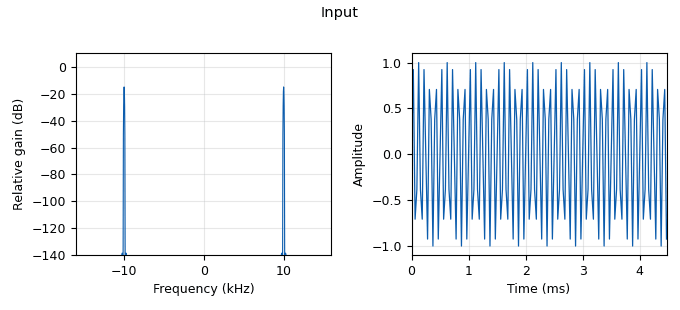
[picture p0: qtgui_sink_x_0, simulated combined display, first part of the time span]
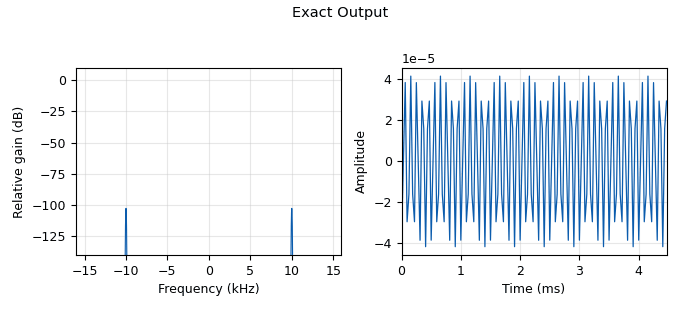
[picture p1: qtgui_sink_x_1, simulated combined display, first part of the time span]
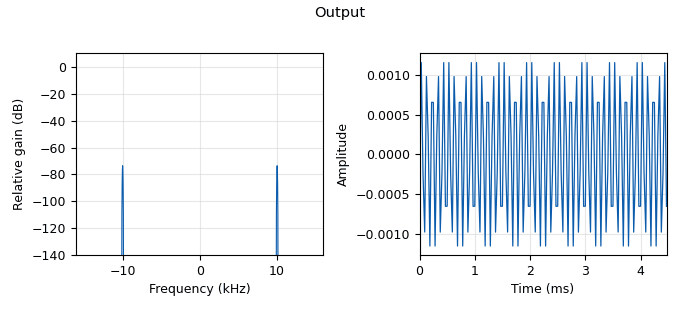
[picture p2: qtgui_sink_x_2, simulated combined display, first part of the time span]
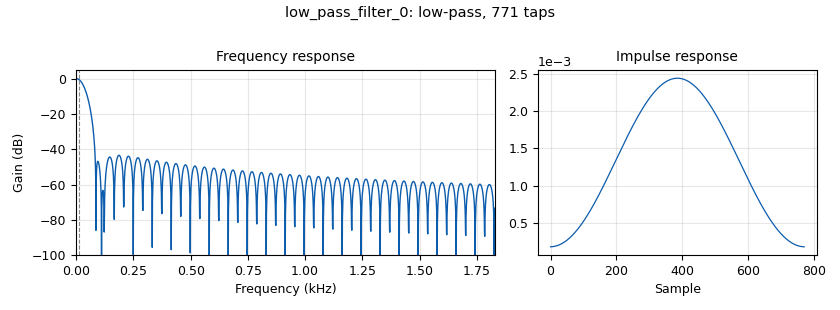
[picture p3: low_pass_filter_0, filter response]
<?xml version='1.0' encoding='utf-8'?>
<?grc format='1' created='3.7.11'?>
<flow_graph>
<block>
<key>options</key>
<param><key>id</key><value>top_block</value></param>
<param><key>generate_options</key><value>qt_gui</value></param>
</block>
<block>
<key>variable</key>
<param><key>id</key><value>samp_rate</value></param>
<param><key>value</key><value>32e3</value></param>
</block>
<block>
<key>analog_sig_source_x</key>
<param><key>id</key><value>analog_sig_source_x_0</value></param>
<param><key>amp</key><value>1</value></param>
<param><key>freq</key><value>10000</value></param>
<param><key>offset</key><value>0</value></param>
<param><key>type</key><value>float</value></param>
<param><key>samp_rate</key><value>samp_rate</value></param>
<param><key>waveform</key><value>analog.GR_SIN_WAVE</value></param>
</block>
<block>
<key>blocks_throttle</key>
<param><key>id</key><value>blocks_throttle_0</value></param>
<param><key>samples_per_second</key><value>samp_rate</value></param>
<param><key>type</key><value>float</value></param>
</block>
<block>
<key>epy_block</key>
<param><key>id</key><value>epy_block_0</value></param>
<param><key>_source_code</key><value>"""
Embedded Python Blocks:

Each time this file is saved, GRC will instantiate the first class it finds
to get ports and parameters of your block. The arguments to __init__  will
be the parameters. All of them are required to have default values!
"""

import numpy as np
from gnuradio import gr


class blk(gr.sync_block):  # other base classes are basic_block, decim_block, interp_block
    """Embedded Python Block example - a simple multiply const"""

    def __init__(self, fc=900.0, fs=32000.0):  # only default arguments here
        """arguments to this function show up as parameters in GRC"""
        gr.sync_block.__init__(
            self,
            name='Low Pass Filter',   # will show up in GRC
            in_sig=[np.float32],
            out_sig=[np.float32]
        )
        # if an attribute with the same name as a parameter is found,
        # a callback 
        self.fc = fc
        self.fs = fs

    def work(self, input_items, output_items):
        """Low Pass IIR Filter"""
        alpha = (2.0*np.pi*(self.fc/self.fs))/(2.0*np.pi*(self.fc/self.fs) + 1.0)

        output_items[0][0] = alpha*input_items[0][0]
        for i in range(1, len(output_items[0])):
            output_items[0][i] = output_items[0][i-1] + alpha*(input_items[0][i] - output_items[0][i-1])

        return len(output_items[0])
</value></param>
<param><key>fc</key><value>10.0</value></param>
<param><key>fs</key><value>samp_rate</value></param>
</block>
<block>
<key>low_pass_filter</key>
<param><key>id</key><value>low_pass_filter_0</value></param>
<param><key>cutoff_freq</key><value>10</value></param>
<param><key>decim</key><value>1</value></param>
<param><key>type</key><value>fir_filter_fff</value></param>
<param><key>gain</key><value>1</value></param>
<param><key>samp_rate</key><value>samp_rate</value></param>
<param><key>width</key><value>100</value></param>
<param><key>win</key><value>firdes.WIN_HAMMING</value></param>
</block>
<block>
<key>qtgui_sink_x</key>
<param><key>id</key><value>qtgui_sink_x_0</value></param>
<param><key>bw</key><value>samp_rate</value></param>
<param><key>fc</key><value>0</value></param>
<param><key>freqchangevar</key><value>None</value></param>
<param><key>fftsize</key><value>1024</value></param>
<param><key>name</key><value>Input</value></param>
<param><key>showports</key><value>True</value></param>
<param><key>type</key><value>float</value></param>
<param><key>wintype</key><value>firdes.WIN_BLACKMAN_hARRIS</value></param>
</block>
<block>
<key>qtgui_sink_x</key>
<param><key>id</key><value>qtgui_sink_x_1</value></param>
<param><key>bw</key><value>samp_rate</value></param>
<param><key>fc</key><value>0</value></param>
<param><key>freqchangevar</key><value>None</value></param>
<param><key>fftsize</key><value>1024</value></param>
<param><key>name</key><value>Exact Output</value></param>
<param><key>showports</key><value>True</value></param>
<param><key>type</key><value>float</value></param>
<param><key>wintype</key><value>firdes.WIN_BLACKMAN_hARRIS</value></param>
</block>
<block>
<key>qtgui_sink_x</key>
<param><key>id</key><value>qtgui_sink_x_2</value></param>
<param><key>bw</key><value>samp_rate</value></param>
<param><key>fc</key><value>0</value></param>
<param><key>freqchangevar</key><value>None</value></param>
<param><key>fftsize</key><value>1024</value></param>
<param><key>name</key><value>Output</value></param>
<param><key>showports</key><value>True</value></param>
<param><key>type</key><value>float</value></param>
<param><key>wintype</key><value>firdes.WIN_BLACKMAN_hARRIS</value></param>
</block>
<connection><source_block_id>analog_sig_source_x_0</source_block_id><sink_block_id>blocks_throttle_0</sink_block_id><source_key>0</source_key><sink_key>0</sink_key></connection>
<connection><source_block_id>blocks_throttle_0</source_block_id><sink_block_id>epy_block_0</sink_block_id><source_key>0</source_key><sink_key>0</sink_key></connection>
<connection><source_block_id>blocks_throttle_0</source_block_id><sink_block_id>low_pass_filter_0</sink_block_id><source_key>0</source_key><sink_key>0</sink_key></connection>
<connection><source_block_id>blocks_throttle_0</source_block_id><sink_block_id>qtgui_sink_x_0</sink_block_id><source_key>0</source_key><sink_key>0</sink_key></connection>
<connection><source_block_id>epy_block_0</source_block_id><sink_block_id>qtgui_sink_x_2</sink_block_id><source_key>0</source_key><sink_key>0</sink_key></connection>
<connection><source_block_id>low_pass_filter_0</source_block_id><sink_block_id>qtgui_sink_x_1</sink_block_id><source_key>0</source_key><sink_key>0</sink_key></connection>
</flow_graph>
